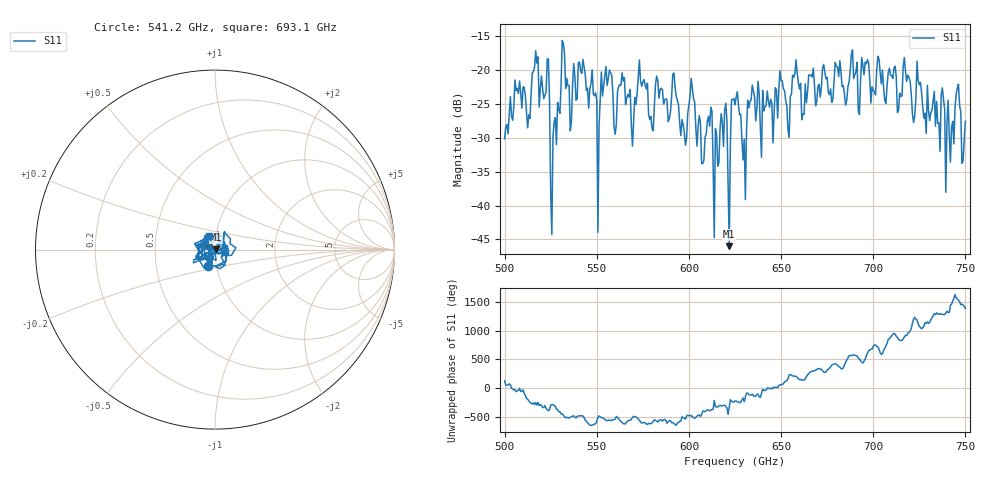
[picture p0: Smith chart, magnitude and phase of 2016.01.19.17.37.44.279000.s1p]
!Created with skrf (http://scikit-rf.org).
# GHz S RI R 50.0
!freq ReS11 ImS11
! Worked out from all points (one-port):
!   401 points, 500 GHz to 750 GHz, reference 50 ohm
!   lowest |S11| = -46.0 dB at 621.9 GHz (marker M1), VSWR 1.01, Z = 50.4 + j0.261 ohm
!   |S11| at or under -10 dB: start of sweep to end of sweep
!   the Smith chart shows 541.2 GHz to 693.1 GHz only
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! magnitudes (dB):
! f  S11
! 500 GHz  -30.1
! 506.9 GHz  -22.7
! 513.1 GHz  -26.6
! 516.9 GHz  -17.1
! 523.1 GHz  -18.4
! 526.2 GHz  -29.8
! 531.2 GHz  -15.6
! 535.6 GHz  -29.0
! 541.9 GHz  -20.5
! 550.6 GHz  -43.9
! 553.8 GHz  -22.3
! 560 GHz  -29.5
! 562.5 GHz  -22.1
! 593.8 GHz  -24.5
! 597.5 GHz  -29.2
! 601.9 GHz  -22.7
! 608.1 GHz  -33.3
! 611.2 GHz  -28.3
! 614.4 GHz  -28.6
! 618.8 GHz  -31.3
! 621.9 GHz  -46.0
! 625 GHz  -25.1
! 630 GHz  -30.2
! 634.4 GHz  -22.2
! 656.2 GHz  -20.7
! 687.5 GHz  -20.1
! 718.8 GHz  -20.7
! 750 GHz  -27.5
